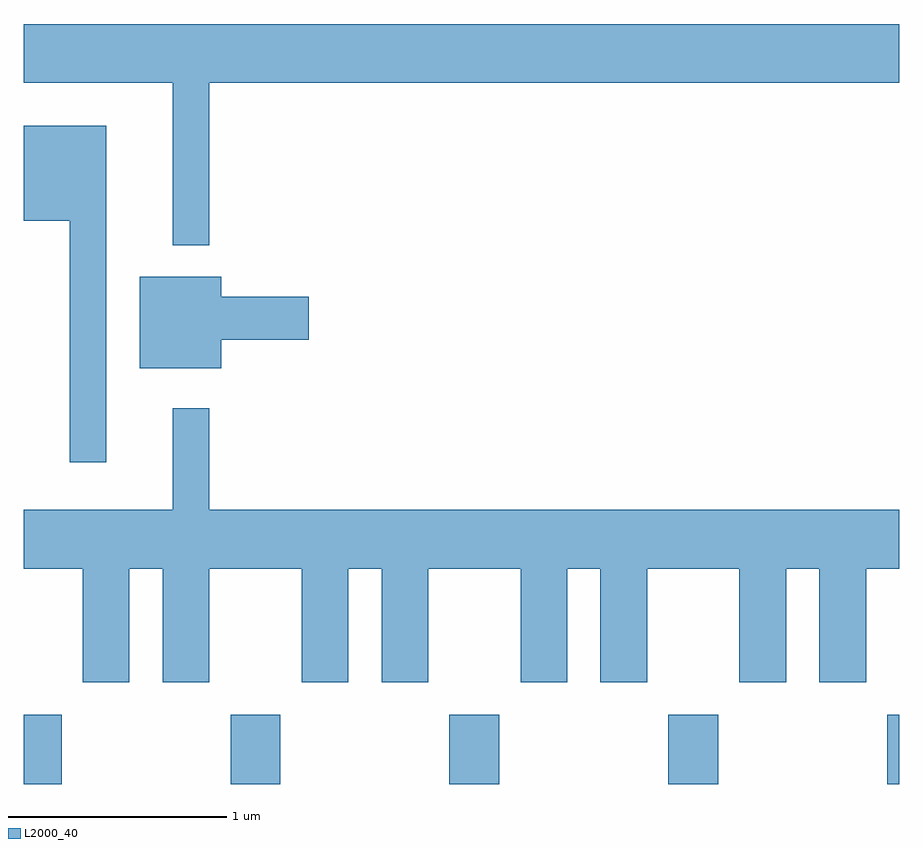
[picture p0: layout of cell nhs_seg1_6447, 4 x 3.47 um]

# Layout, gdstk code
import gdstk
lib = gdstk.Library(unit=1e-6, precision=1e-09)
def R(c, l, rs):  # rectangles x0, y0, x1, y1
    for r in rs: c.add(gdstk.rectangle(r[:2], r[2:], *l))
def A(c, l, x, y, w, h, nx, ny, dx, dy):  # array of equal rectangles
    R(c, l, [(x+i*dx, y+j*dy, x+i*dx+w, y+j*dy+h) for i in range(nx) for j in range(ny)])
def P(c, l, *ps):  # polygons
    for p in ps: c.add(gdstk.Polygon(p, *l))
L2000_40 = (2000, 40)

nhs_seg1_6447 = lib.new_cell('nhs_seg1_6447')
A(nhs_seg1_6447, L2000_40, 380.556, 889.712, 0.228, 0.317, 3, 1, 1, 0)
R(nhs_seg1_6447, L2000_40, [(379.611,889.712,379.784,890.029), (383.556,889.712,383.611,890.029)])
P(nhs_seg1_6447, L2000_40, [(380.459,892.916),(383.611,892.916),(383.611,893.184),(379.611,893.184),(379.611,892.916),(380.291,892.916),(380.291,892.173),(380.459,892.173)],
  [(379.989,892.719),(379.611,892.719),(379.611,892.286),(379.821,892.286),(379.821,891.183),(379.989,891.183)],
  [(380.514,891.741),(380.914,891.741),(380.914,891.939),(380.514,891.939),(380.514,892.029),(380.141,892.029),(380.141,891.611),(380.514,891.611)],
  [(380.094,890.696),(380.246,890.696),(380.246,890.176),(380.459,890.176),(380.459,890.696),(380.881,890.696),(380.881,890.176),(381.094,890.176),(381.094,890.696),(381.246,890.696),(381.246,890.176),(381.459,890.176),(381.459,890.696),(381.881,890.696),(381.881,890.176),(382.094,890.176),(382.094,890.696),(382.246,890.696),(382.246,890.176),(382.459,890.176),(382.459,890.696),(382.881,890.696),(382.881,890.176),(383.094,890.176),(383.094,890.696),(383.246,890.696),(383.246,890.176),(383.459,890.176),(383.459,890.696),(383.611,890.696),(383.611,890.964),(380.459,890.964),(380.459,891.428),(380.291,891.428),(380.291,890.964),(379.611,890.964),(379.611,890.696),(379.881,890.696),(379.881,890.176),(380.094,890.176)])

lib.write_gds('nhs_seg1_6447.gds')
